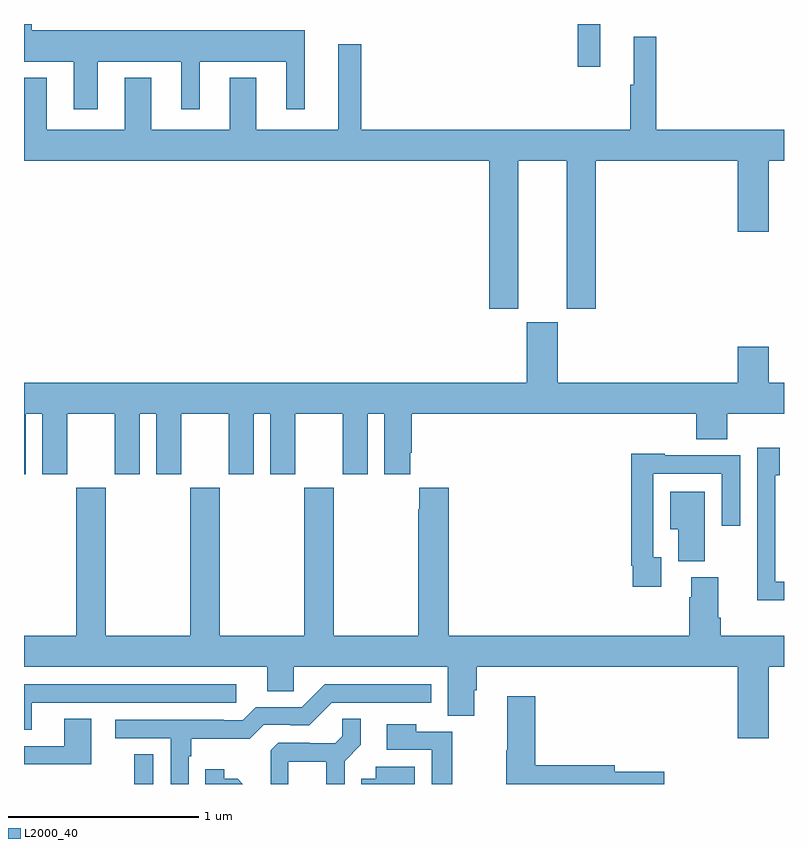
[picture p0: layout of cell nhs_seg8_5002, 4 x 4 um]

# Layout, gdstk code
import gdstk
lib = gdstk.Library(unit=1e-6, precision=1e-09)
def R(c, l, rs):  # rectangles x0, y0, x1, y1
    for r in rs: c.add(gdstk.rectangle(r[:2], r[2:], *l))
def P(c, l, *ps):  # polygons
    for p in ps: c.add(gdstk.Polygon(p, *l))
L2000_40 = (2000, 40)

nhs_seg8_5002 = lib.new_cell('nhs_seg8_5002')
R(nhs_seg8_5002, L2000_40, [(413.581,1099.9,413.679,1100.057), (415.915,1103.676,416.033,1103.9)])
P(nhs_seg8_5002, L2000_40, [(413.389,1103.702),(413.828,1103.702),(413.828,1103.451),(413.926,1103.451),(413.926,1103.702),(414.38,1103.702),(414.38,1103.451),(414.478,1103.451),(414.478,1103.866),(413.041,1103.866),(413.041,1103.9),(413,1103.9),(413,1103.702),(413.261,1103.702),(413.261,1103.451),(413.389,1103.451)],
  [(415.6,1103.18),(415.856,1103.18),(415.856,1102.401),(416.009,1102.401),(416.009,1103.18),(416.756,1103.18),(416.756,1102.806),(416.92,1102.806),(416.92,1103.18),(417,1103.18),(417,1103.344),(416.327,1103.344),(416.327,1103.833),(416.21,1103.833),(416.21,1103.58),(416.191,1103.58),(416.191,1103.344),(414.775,1103.344),(414.775,1103.794),(414.653,1103.794),(414.653,1103.344),(414.223,1103.344),(414.223,1103.617),(414.083,1103.617),(414.083,1103.344),(413.671,1103.344),(413.671,1103.617),(413.531,1103.617),(413.531,1103.344),(413.119,1103.344),(413.119,1103.617),(413,1103.617),(413,1103.18),(415.448,1103.18),(415.448,1102.401),(415.6,1102.401)],
  [(413.008,1101.848),(413.096,1101.848),(413.096,1101.531),(413.227,1101.531),(413.227,1101.848),(413.477,1101.848),(413.477,1101.531),(413.608,1101.531),(413.608,1101.848),(413.696,1101.848),(413.696,1101.531),(413.827,1101.531),(413.827,1101.848),(414.077,1101.848),(414.077,1101.531),(414.208,1101.531),(414.208,1101.848),(414.296,1101.848),(414.296,1101.531),(414.427,1101.531),(414.427,1101.848),(414.677,1101.848),(414.677,1101.531),(414.808,1101.531),(414.808,1101.848),(414.896,1101.848),(414.896,1101.531),(415.033,1101.531),(415.033,1101.643),(415.04,1101.643),(415.04,1101.848),(416.537,1101.848),(416.537,1101.715),(416.702,1101.715),(416.702,1101.848),(417,1101.848),(417,1102.012),(416.92,1102.012),(416.92,1102.201),(416.756,1102.201),(416.756,1102.012),(415.81,1102.012),(415.81,1102.329),(415.646,1102.329),(415.646,1102.012),(413,1102.012),(413,1101.531),(413.008,1101.531)],
  [(417,1100.964),(416.955,1100.964),(416.955,1101.525),(416.977,1101.525),(416.977,1101.67),(416.859,1101.67),(416.859,1101.17),(416.858,1101.17),(416.858,1100.867),(417,1100.867)],
  [(416.353,1101.093),(416.313,1101.093),(416.313,1101.534),(416.673,1101.534),(416.673,1101.258),(416.769,1101.258),(416.769,1101.63),(416.373,1101.63),(416.373,1101.637),(416.197,1101.637),(416.197,1101.049),(416.205,1101.049),(416.205,1100.937),(416.353,1100.937)],
  [(416.92,1100.516),(417,1100.516),(417,1100.68),(416.666,1100.68),(416.666,1100.776),(416.653,1100.776),(416.653,1100.988),(416.513,1100.988),(416.513,1100.882),(416.501,1100.882),(416.501,1100.68),(415.235,1100.68),(415.235,1101.46),(415.079,1101.46),(415.079,1101.347),(415.075,1101.347),(415.075,1100.68),(414.63,1100.68),(414.63,1101.46),(414.475,1101.46),(414.475,1100.68),(414.03,1100.68),(414.03,1101.46),(413.875,1101.46),(413.875,1100.68),(413.43,1100.68),(413.43,1101.46),(413.275,1101.46),(413.275,1100.68),(413,1100.68),(413,1100.516),(414.281,1100.516),(414.281,1100.389),(414.42,1100.389),(414.42,1100.516),(415.229,1100.516),(415.229,1100.26),(415.369,1100.26),(415.369,1100.394),(415.382,1100.394),(415.382,1100.516),(416.756,1100.516),(416.756,1100.142),(416.92,1100.142)],
  [(416.584,1101.439),(416.402,1101.439),(416.402,1101.242),(416.444,1101.242),(416.444,1101.073),(416.584,1101.073)],
  [(413.868,1100.045),(413.881,1100.045),(413.881,1100.138),(414.188,1100.138),(414.261,1100.211),(414.4,1100.211),(414.4,1100.208),(414.501,1100.208),(414.621,1100.328),(415.144,1100.328),(415.144,1100.424),(414.582,1100.424),(414.462,1100.304),(414.219,1100.304),(414.15,1100.235),(414.05,1100.235),(414.05,1100.238),(413.481,1100.238),(413.481,1100.142),(413.772,1100.142),(413.772,1099.9),(413.868,1099.9)],
  [(413.041,1100.328),(414.118,1100.328),(414.118,1100.424),(413,1100.424),(413,1100.185),(413.041,1100.185)],
  [(416.371,1099.964),(416.11,1099.964),(416.11,1100),(415.691,1100),(415.691,1100.362),(415.544,1100.362),(415.544,1100.077),(415.537,1100.077),(415.537,1099.9),(416.371,1099.9)],
  [(413.353,1100.243),(413.213,1100.243),(413.213,1100.1),(413,1100.1),(413,1100.004),(413.353,1100.004)],
  [(414.392,1100.018),(414.59,1100.018),(414.59,1099.9),(414.687,1099.9),(414.687,1100.021),(414.773,1100.107),(414.773,1100.243),(414.675,1100.243),(414.675,1100.152),(414.638,1100.115),(414.504,1100.115),(414.504,1100.118),(414.339,1100.118),(414.298,1100.077),(414.298,1099.9),(414.392,1099.9)],
  [(415.255,1100.175),(415.065,1100.175),(415.065,1100.215),(414.909,1100.215),(414.909,1100.079),(415.146,1100.079),(415.146,1099.9),(415.255,1099.9)],
  [(415.057,1099.99),(414.851,1099.99),(414.851,1099.927),(414.776,1099.927),(414.776,1099.9),(415.057,1099.9)],
  [(414.124,1099.928),(414.054,1099.928),(414.054,1099.978),(413.953,1099.978),(413.953,1099.9),(414.152,1099.9)])

lib.write_gds('nhs_seg8_5002.gds')
